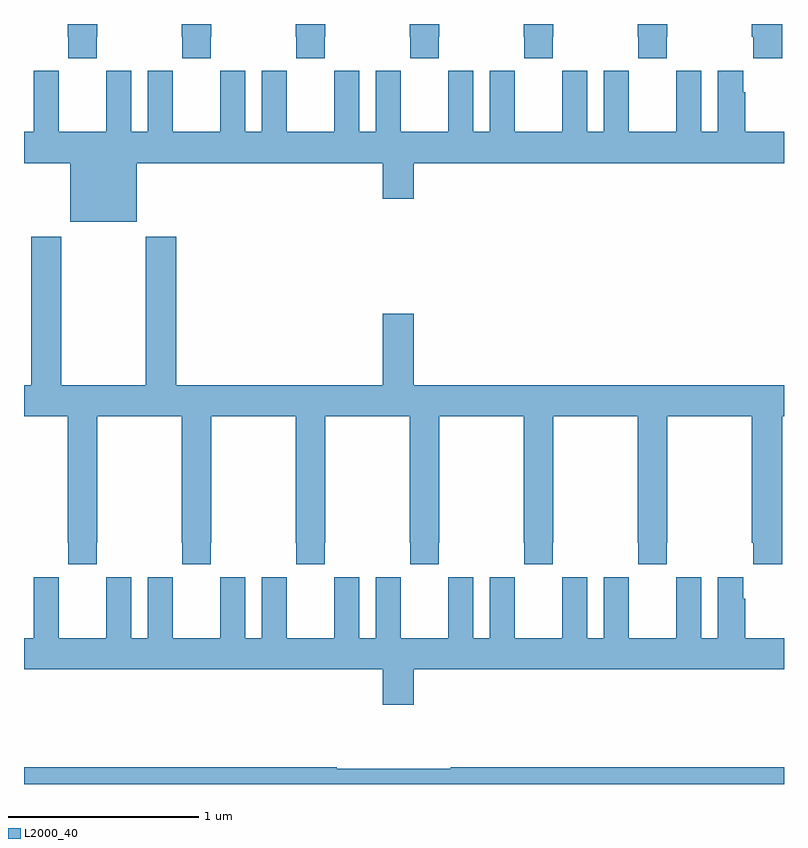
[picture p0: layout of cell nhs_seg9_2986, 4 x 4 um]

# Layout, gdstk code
import gdstk
lib = gdstk.Library(unit=1e-6, precision=1e-09)
def P(c, l, *ps):  # polygons
    for p in ps: c.add(gdstk.Polygon(p, *l))
L2000_40 = (2000, 40)

nhs_seg9_2986 = lib.new_cell('nhs_seg9_2986')
P(nhs_seg9_2986, L2000_40, [(286.991,1182.5),(286.831,1182.5),(286.831,1182.433),(286.837,1182.433),(286.837,1182.321),(286.991,1182.321)],
  [(283.383,1182.433),(283.386,1182.433),(283.386,1182.5),(283.231,1182.5),(283.231,1182.433),(283.233,1182.433),(283.233,1182.321),(283.383,1182.321)],
  [(283.983,1182.433),(283.986,1182.433),(283.986,1182.5),(283.831,1182.5),(283.831,1182.433),(283.833,1182.433),(283.833,1182.321),(283.983,1182.321)],
  [(284.583,1182.433),(284.586,1182.433),(284.586,1182.5),(284.431,1182.5),(284.431,1182.433),(284.433,1182.433),(284.433,1182.321),(284.583,1182.321)],
  [(285.183,1182.433),(285.186,1182.433),(285.186,1182.5),(285.031,1182.5),(285.031,1182.433),(285.033,1182.433),(285.033,1182.321),(285.183,1182.321)],
  [(285.783,1182.433),(285.786,1182.433),(285.786,1182.5),(285.631,1182.5),(285.631,1182.433),(285.633,1182.433),(285.633,1182.321),(285.783,1182.321)],
  [(286.383,1182.433),(286.386,1182.433),(286.386,1182.5),(286.231,1182.5),(286.231,1182.433),(286.233,1182.433),(286.233,1182.321),(286.383,1182.321)],
  [(284.888,1181.58),(285.052,1181.58),(285.052,1181.768),(287,1181.768),(287,1181.932),(286.796,1181.932),(286.796,1182.14),(286.786,1182.14),(286.786,1182.253),(286.652,1182.253),(286.652,1181.932),(286.564,1181.932),(286.564,1182.253),(286.434,1182.253),(286.434,1182.14),(286.433,1182.14),(286.433,1181.932),(286.183,1181.932),(286.183,1182.14),(286.182,1182.14),(286.182,1182.253),(286.052,1182.253),(286.052,1181.932),(285.964,1181.932),(285.964,1182.253),(285.834,1182.253),(285.834,1182.14),(285.833,1182.14),(285.833,1181.932),(285.583,1181.932),(285.583,1182.14),(285.582,1182.14),(285.582,1182.253),(285.452,1182.253),(285.452,1181.932),(285.364,1181.932),(285.364,1182.253),(285.234,1182.253),(285.234,1182.14),(285.233,1182.14),(285.233,1181.932),(284.983,1181.932),(284.983,1182.14),(284.982,1182.14),(284.982,1182.253),(284.852,1182.253),(284.852,1181.932),(284.764,1181.932),(284.764,1182.253),(284.634,1182.253),(284.634,1182.14),(284.633,1182.14),(284.633,1181.932),(284.383,1181.932),(284.383,1182.14),(284.382,1182.14),(284.382,1182.253),(284.252,1182.253),(284.252,1181.932),(284.164,1181.932),(284.164,1182.253),(284.034,1182.253),(284.034,1182.14),(284.033,1182.14),(284.033,1181.932),(283.783,1181.932),(283.783,1182.14),(283.782,1182.14),(283.782,1182.253),(283.652,1182.253),(283.652,1181.932),(283.564,1181.932),(283.564,1182.253),(283.434,1182.253),(283.434,1182.14),(283.433,1182.14),(283.433,1181.932),(283.183,1181.932),(283.183,1182.14),(283.182,1182.14),(283.182,1182.253),(283.052,1182.253),(283.052,1181.932),(283,1181.932),(283,1181.768),(283.244,1181.768),(283.244,1181.459),(283.594,1181.459),(283.594,1181.768),(284.888,1181.768)],
  [(283.383,1179.769),(283.386,1179.769),(283.386,1180.436),(283.831,1180.436),(283.831,1179.769),(283.833,1179.769),(283.833,1179.657),(283.983,1179.657),(283.983,1179.769),(283.986,1179.769),(283.986,1180.436),(284.431,1180.436),(284.431,1179.769),(284.433,1179.769),(284.433,1179.657),(284.583,1179.657),(284.583,1179.769),(284.586,1179.769),(284.586,1180.436),(285.031,1180.436),(285.031,1179.769),(285.033,1179.769),(285.033,1179.657),(285.183,1179.657),(285.183,1179.769),(285.186,1179.769),(285.186,1180.436),(285.631,1180.436),(285.631,1179.769),(285.633,1179.769),(285.633,1179.657),(285.783,1179.657),(285.783,1179.769),(285.786,1179.769),(285.786,1180.436),(286.231,1180.436),(286.231,1179.769),(286.233,1179.769),(286.233,1179.657),(286.383,1179.657),(286.383,1179.769),(286.386,1179.769),(286.386,1180.436),(286.831,1180.436),(286.831,1179.769),(286.837,1179.769),(286.837,1179.657),(286.991,1179.657),(286.991,1180.436),(287,1180.436),(287,1180.6),(285.052,1180.6),(285.052,1180.975),(284.888,1180.975),(284.888,1180.6),(283.802,1180.6),(283.802,1181.38),(283.642,1181.38),(283.642,1180.6),(283.197,1180.6),(283.197,1181.38),(283.037,1181.38),(283.037,1180.6),(283,1180.6),(283,1180.436),(283.231,1180.436),(283.231,1179.769),(283.233,1179.769),(283.233,1179.657),(283.383,1179.657)],
  [(284.382,1179.476),(284.382,1179.589),(284.252,1179.589),(284.252,1179.268),(284.164,1179.268),(284.164,1179.589),(284.034,1179.589),(284.034,1179.476),(284.033,1179.476),(284.033,1179.268),(283.783,1179.268),(283.783,1179.476),(283.782,1179.476),(283.782,1179.589),(283.652,1179.589),(283.652,1179.268),(283.564,1179.268),(283.564,1179.589),(283.434,1179.589),(283.434,1179.476),(283.433,1179.476),(283.433,1179.268),(283.183,1179.268),(283.183,1179.476),(283.182,1179.476),(283.182,1179.589),(283.052,1179.589),(283.052,1179.268),(283,1179.268),(283,1179.104),(284.888,1179.104),(284.888,1178.916),(285.052,1178.916),(285.052,1179.104),(287,1179.104),(287,1179.268),(286.796,1179.268),(286.796,1179.476),(286.786,1179.476),(286.786,1179.589),(286.652,1179.589),(286.652,1179.268),(286.564,1179.268),(286.564,1179.589),(286.434,1179.589),(286.434,1179.476),(286.433,1179.476),(286.433,1179.268),(286.183,1179.268),(286.183,1179.476),(286.182,1179.476),(286.182,1179.589),(286.052,1179.589),(286.052,1179.268),(285.964,1179.268),(285.964,1179.589),(285.834,1179.589),(285.834,1179.476),(285.833,1179.476),(285.833,1179.268),(285.583,1179.268),(285.583,1179.476),(285.582,1179.476),(285.582,1179.589),(285.452,1179.589),(285.452,1179.268),(285.364,1179.268),(285.364,1179.589),(285.234,1179.589),(285.234,1179.476),(285.233,1179.476),(285.233,1179.268),(284.983,1179.268),(284.983,1179.476),(284.982,1179.476),(284.982,1179.589),(284.852,1179.589),(284.852,1179.268),(284.764,1179.268),(284.764,1179.589),(284.634,1179.589),(284.634,1179.476),(284.633,1179.476),(284.633,1179.268),(284.383,1179.268),(284.383,1179.476)],
  [(287,1178.588),(285.245,1178.588),(285.245,1178.581),(284.645,1178.581),(284.645,1178.588),(283,1178.588),(283,1178.5),(287,1178.5)])

lib.write_gds('nhs_seg9_2986.gds')
